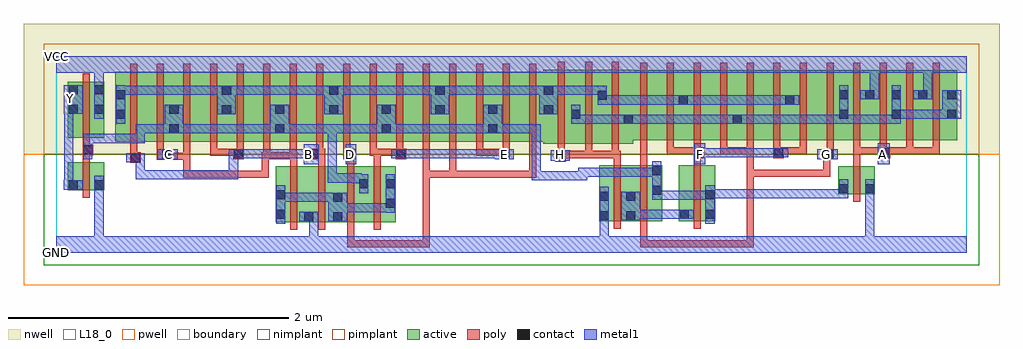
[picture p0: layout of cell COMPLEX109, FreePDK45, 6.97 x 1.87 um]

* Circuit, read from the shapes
.subckt COMPLEX109 A B C D E F G GND H VCC Y
M1 GND n1 Y VSUBS nfet w=0.2u l=0.05u
M2 GND C n2 VSUBS nfet w=0.4u l=0.05u
M3 n2 B GND VSUBS nfet w=0.4u l=0.05u
M4 n1 D n2 VSUBS nfet w=0.4u l=0.05u
M5 n2 E n1 VSUBS nfet w=0.4u l=0.05u
M6 n3 H GND VSUBS nfet w=0.4u l=0.05u
M7 n1 G n3 VSUBS nfet w=0.4u l=0.05u
M8 n1 F n3 VSUBS nfet w=0.4u l=0.05u
M9 GND A n1 VSUBS nfet w=0.2u l=0.05u
M10 VCC n1 Y n4 pfet w=0.4u l=0.05u
M11 n5 B n6 n4 pfet w=0.5u l=0.05u
M12 n1 C n5 n4 pfet w=0.5u l=0.05u
M13 n7 C n1 n4 pfet w=0.5u l=0.05u
M14 n6 B n7 n4 pfet w=0.5u l=0.05u
M15 n8 B n6 n4 pfet w=0.5u l=0.05u
M16 n1 C n8 n4 pfet w=0.5u l=0.05u
M17 n9 C n1 n4 pfet w=0.5u l=0.05u
M18 n6 B n9 n4 pfet w=0.5u l=0.05u
M19 n10 D n6 n4 pfet w=0.5u l=0.05u
M20 n1 E n10 n4 pfet w=0.5u l=0.05u
M21 n11 E n1 n4 pfet w=0.5u l=0.05u
M22 n6 D n11 n4 pfet w=0.5u l=0.05u
M23 n12 D n6 n4 pfet w=0.5u l=0.05u
M24 n1 E n12 n4 pfet w=0.5u l=0.05u
M25 n13 E n1 n4 pfet w=0.5u l=0.05u
M26 n6 D n13 n4 pfet w=0.5u l=0.05u
M27 n14 H n6 n4 pfet w=0.532u l=0.05u m=3
M28 n15 G n14 n4 pfet w=0.5u l=0.05u
M29 n6 F n15 n4 pfet w=0.5u l=0.05u
M30 n16 F n6 n4 pfet w=0.5u l=0.05u
M31 n14 G n16 n4 pfet w=0.5u l=0.05u
M32 n17 G n14 n4 pfet w=0.5u l=0.05u
M33 n6 F n17 n4 pfet w=0.5u l=0.05u
M34 n18 F n6 n4 pfet w=0.5u l=0.05u
M35 n14 G n18 n4 pfet w=0.5u l=0.05u
M36 VCC A n14 n4 pfet w=0.5u l=0.05u m=4
.ends

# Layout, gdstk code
import gdstk
lib = gdstk.Library(unit=1e-6, precision=1e-09)
def R(c, l, rs):  # rectangles x0, y0, x1, y1
    for r in rs: c.add(gdstk.rectangle(r[:2], r[2:], *l))
def A(c, l, x, y, w, h, nx, ny, dx, dy):  # array of equal rectangles
    R(c, l, [(x+i*dx, y+j*dy, x+i*dx+w, y+j*dy+h) for i in range(nx) for j in range(ny)])
active = (1, 0)
pwell = (2, 0)
nwell = (3, 0)
nimplant = (4, 0)
pimplant = (5, 0)
poly = (9, 0)
contact = (10, 0)
metal1 = (11, 0)
L18_0 = (18, 0)
boundary = (235, 0)

complex109 = lib.new_cell('COMPLEX109')
R(complex109, active, [(1.565,0.217,1.84,0.617), (1.765,0.217,1.84,0.492), (1.765,0.217,2.047,0.617), (1.972,0.217,2.232,0.617), (1.972,0.217,2.047,0.492), (2.157,0.217,2.422,0.617), (2.347,0.217,2.422,0.617), (3.875,0.225,3.95,0.625), (3.875,0.225,4.14,0.625), (4.065,0.225,4.325,0.625), (4.065,0.225,4.14,0.492), (4.445,0.225,4.52,0.625), (4.445,0.225,4.705,0.625), (4.63,0.225,4.705,0.625), (1.565,0.232,1.64,0.617), (2.157,0.245,2.232,0.537), (4.25,0.245,4.325,0.625), (5.585,0.417,5.66,0.617), (5.585,0.417,5.845,0.617), (5.77,0.417,5.845,0.617), (0.082,0.445,0.157,0.645), (0.082,0.445,0.342,0.645), (0.267,0.445,0.342,0.645), (3.477,0.775,3.745,1.307), (3.67,0.775,3.935,1.307), (3.67,0.775,3.745,1.07), (3.86,0.775,4.12,1.307), (3.86,0.775,3.935,1.2), (0.422,0.792,0.647,1.292), (0.422,0.792,0.527,1.2), (0.647,0.792,0.877,1.292), (0.802,0.792,1.027,1.292), (0.802,0.792,0.877,1.07), (1.027,0.792,1.252,1.292), (1.177,0.792,1.407,1.292), (1.177,0.792,1.252,1.2), (1.407,0.792,1.632,1.292), (1.557,0.792,1.787,1.292), (1.557,0.792,1.632,1.07), (1.787,0.792,2.017,1.292), (1.942,0.792,2.167,1.292), (2.167,0.792,2.392,1.292), (2.317,0.792,2.547,1.292), (2.317,0.792,2.392,1.07), (2.547,0.792,2.777,1.292), (2.702,0.792,2.927,1.292), (2.702,0.792,2.777,1.2), (2.927,0.792,3.155,1.292), (3.08,0.792,3.307,1.292), (3.08,0.792,3.155,1.07), (3.307,0.792,3.552,1.292), (3.477,0.792,3.552,1.2), (4.045,0.8,4.29,1.3), (4.29,0.8,4.515,1.3), (4.44,0.8,4.67,1.3), (4.67,0.8,4.9,1.3), (4.825,0.8,5.05,1.3), (5.05,0.8,5.275,1.3), (5.2,0.8,5.43,1.3), (5.43,0.8,5.66,1.3), (5.585,0.8,5.845,1.3), (5.77,0.8,6.035,1.3), (5.96,0.8,6.225,1.3), (6.15,0.8,6.432,1.3), (6.357,0.8,6.432,1.2), (1.942,0.807,2.017,1.2), (4.045,0.807,4.12,1.07), (4.44,0.807,4.515,1.2), (4.825,0.807,4.9,1.07), (5.2,0.807,5.275,1.2), (5.585,0.807,5.66,1.2), (5.77,0.807,5.845,1.255), (5.96,0.807,6.035,1.2), (6.15,0.807,6.225,1.255), (0.082,0.82,0.342,1.22), (0.082,0.82,0.157,1.2), (0.267,0.82,0.342,1.22)])
R(complex109, pwell, [(-0.235,-0.235,6.735,0.7)])
R(complex109, nwell, [(-0.235,0.7,6.735,1.635)])
R(complex109, nimplant, [(-0.09,-0.09,6.59,0.7)])
R(complex109, pimplant, [(-0.09,0.7,6.59,1.49)])
A(complex109, poly, 1.857, 0.692, 0.05, 0.095, 4, 1, 0.19, 0)
A(complex109, poly, 4.36, 0.7, 0.05, 0.095, 6, 1, 0.19, 0)
A(complex109, poly, 5.69, 0.7, 0.05, 0.095, 4, 1, 0.19, 0)
A(complex109, poly, 0.527, 0.737, 0.05, 0.61, 16, 1, 0.19, 0)
A(complex109, poly, 4.17, 0.745, 0.05, 0.61, 12, 1, 0.19, 0)
R(complex109, poly, [(2.077,0.037,2.127,0.087), (2.077,0.037,2.127,0.087), (2.077,0.037,2.127,0.087), (2.077,0.037,2.127,0.212), (2.077,0.037,2.34,0.087), (2.29,0.037,2.34,0.087), (2.29,0.037,2.535,0.087), (2.485,0.037,2.535,0.087), (2.485,0.037,2.535,0.087), (2.485,0.037,2.535,0.087), (2.485,0.037,2.667,0.087), (2.617,0.037,2.667,0.087), (2.617,0.037,2.667,0.087), (2.617,0.037,2.667,0.087), (2.617,0.037,2.667,0.087), (2.617,0.037,2.667,0.087), (2.617,0.037,2.667,0.585), (4.17,0.037,4.22,0.087), (4.17,0.037,4.22,0.087), (4.17,0.037,4.22,0.087), (4.17,0.037,4.467,0.087), (4.17,0.037,4.22,0.22), (4.417,0.037,4.467,0.087), (4.417,0.037,4.467,0.087), (4.417,0.037,4.467,0.087), (4.417,0.037,4.6,0.087), (4.55,0.037,4.6,0.087), (4.55,0.037,4.6,0.087), (4.55,0.037,4.6,0.087), (4.55,0.037,4.732,0.087), (4.682,0.037,4.732,0.087), (4.682,0.037,4.98,0.087), (4.93,0.037,4.98,0.087), (4.93,0.037,4.98,0.087), (4.93,0.037,4.98,0.087), (4.93,0.037,4.98,0.592), (1.67,0.162,1.72,0.672), (1.87,0.162,1.92,0.672), (2.077,0.162,2.127,0.672), (2.267,0.162,2.317,0.672), (3.98,0.17,4.03,0.68), (4.17,0.17,4.22,0.68), (4.55,0.17,4.6,0.68), (5.69,0.362,5.74,0.672), (0.187,0.39,0.237,0.7), (0.907,0.535,0.957,0.585), (0.907,0.535,0.957,0.585), (0.907,0.535,0.957,0.585), (0.907,0.535,1.09,0.585), (0.907,0.535,0.957,0.712), (1.04,0.535,1.09,0.585), (1.04,0.535,1.09,0.585), (1.04,0.535,1.09,0.585), (1.04,0.535,1.382,0.585), (1.332,0.535,1.382,0.585), (1.332,0.535,1.515,0.585), (1.465,0.535,1.515,0.585), (1.465,0.535,1.515,0.585), (1.465,0.535,1.515,0.585), (1.465,0.535,1.515,0.585), (1.465,0.535,1.515,0.585), (1.465,0.535,1.515,0.717), (2.617,0.535,2.667,0.585), (2.617,0.535,2.667,0.585), (2.617,0.535,2.667,0.585), (2.617,0.535,2.667,0.585), (2.617,0.535,2.667,0.585), (2.617,0.535,2.667,0.585), (2.617,0.535,2.667,0.585), (2.617,0.535,2.8,0.585), (2.617,0.535,2.667,0.787), (2.75,0.535,2.8,0.585), (2.75,0.535,2.857,0.585), (2.807,0.535,2.857,0.585), (2.807,0.535,2.857,0.585), (2.807,0.535,2.857,0.585), (2.807,0.535,2.857,0.585), (2.807,0.535,2.857,0.585), (2.807,0.535,2.857,0.787), (2.807,0.535,2.932,0.585), (2.882,0.535,2.932,0.585), (2.882,0.535,2.99,0.585), (2.94,0.535,2.99,0.585), (2.94,0.535,3.162,0.585), (3.112,0.535,3.162,0.585), (3.112,0.535,3.295,0.585), (3.245,0.535,3.295,0.585), (3.245,0.535,3.295,0.585), (3.245,0.535,3.295,0.585), (3.245,0.535,3.427,0.585), (3.377,0.535,3.427,0.585), (3.377,0.535,3.427,0.585), (3.377,0.535,3.427,0.585), (3.377,0.535,3.427,0.585), (3.377,0.535,3.427,0.585), (3.377,0.535,3.427,0.787), (4.93,0.542,4.98,0.592), (4.93,0.542,4.98,0.592), (4.93,0.542,4.98,0.592), (4.93,0.542,4.98,0.592), (4.93,0.542,4.98,0.592), (4.93,0.542,5.227,0.592), (4.93,0.542,4.98,0.75), (5.177,0.542,5.227,0.592), (5.177,0.542,5.227,0.592), (5.177,0.542,5.227,0.592), (5.177,0.542,5.36,0.592), (5.31,0.542,5.36,0.592), (5.31,0.542,5.36,0.592), (5.31,0.542,5.36,0.592), (5.31,0.542,5.525,0.592), (5.475,0.542,5.525,0.592), (5.475,0.542,5.525,0.592), (5.475,0.542,5.525,0.592), (5.475,0.542,5.525,0.592), (5.475,0.542,5.525,0.592), (5.475,0.542,5.525,0.717), (1.67,0.622,1.72,0.717), (1.87,0.622,1.92,0.717), (2.077,0.622,2.127,0.717), (2.267,0.622,2.317,0.742), (5.69,0.622,5.74,0.75), (3.98,0.63,4.03,0.725), (4.17,0.63,4.22,0.725), (4.55,0.63,4.6,0.725), (0.527,0.64,0.602,0.715), (0.187,0.65,0.237,0.745), (3.562,0.65,3.637,0.725), (0.717,0.662,0.825,0.737), (0.775,0.662,0.825,0.712), (0.775,0.662,0.825,0.712), (0.775,0.662,0.957,0.712), (0.907,0.662,0.957,0.712), (0.907,0.662,0.957,0.712), (0.907,0.662,0.957,0.712), (0.907,0.662,0.957,0.787), (0.527,0.665,0.577,0.787), (1.262,0.667,1.337,0.742), (1.465,0.667,1.527,0.717), (1.477,0.667,1.717,0.717), (1.477,0.667,1.527,0.787), (1.667,0.667,1.717,0.717), (1.667,0.667,1.717,0.717), (1.667,0.667,1.717,0.787), (1.667,0.667,1.72,0.717), (1.802,0.667,1.92,0.742), (2.047,0.667,2.137,0.742), (2.422,0.667,2.497,0.742), (3.162,0.667,3.237,0.742), (5.475,0.667,5.55,0.742), (3.582,0.675,3.632,0.77), (3.587,0.675,3.637,0.725), (3.587,0.675,3.637,0.725), (3.587,0.675,3.825,0.725), (3.775,0.675,3.825,0.77), (3.775,0.675,3.825,0.725), (3.775,0.675,3.825,0.725), (3.775,0.675,3.825,0.725), (3.775,0.675,4.015,0.725), (3.965,0.675,4.015,0.77), (3.965,0.675,4.03,0.725), (4.17,0.675,4.22,0.725), (4.17,0.675,4.22,0.795), (4.55,0.675,4.625,0.75), (5.12,0.675,5.195,0.75), (5.88,0.675,5.955,0.75), (0.717,0.687,0.767,0.787), (1.097,0.692,1.147,0.787), (1.097,0.692,1.147,0.742), (1.097,0.692,1.147,0.742), (1.097,0.692,1.147,0.742), (1.097,0.692,1.312,0.742), (1.287,0.692,1.337,0.787), (2.237,0.692,2.317,0.742), (2.267,0.692,2.317,0.742), (2.267,0.692,2.317,0.742), (2.267,0.692,2.472,0.742), (2.997,0.692,3.047,0.787), (2.997,0.692,3.047,0.742), (2.997,0.692,3.162,0.742), (3.112,0.692,3.162,0.742), (3.112,0.692,3.212,0.742), (3.187,0.692,3.237,0.787), (5.5,0.692,5.55,0.795), (0.187,0.695,0.262,0.77), (4.36,0.7,4.41,0.75), (4.36,0.7,4.41,0.75), (4.36,0.7,4.41,0.75), (4.36,0.7,4.6,0.75), (4.74,0.7,4.79,0.75), (4.74,0.7,4.98,0.75), (4.93,0.7,4.98,0.75), (4.93,0.7,4.98,0.75), (4.93,0.7,4.98,0.75), (4.93,0.7,4.98,0.75), (4.93,0.7,4.98,0.75), (5.145,0.7,5.36,0.75), (5.31,0.7,5.36,0.75), (5.31,0.7,5.36,0.75), (5.31,0.7,5.36,0.75), (5.69,0.7,5.74,0.75), (5.69,0.7,5.74,0.75), (5.69,0.7,5.74,0.75), (5.69,0.7,5.93,0.75), (5.905,0.7,5.955,0.75), (5.905,0.7,5.955,0.75), (5.905,0.7,6.12,0.75), (6.07,0.7,6.12,0.75), (6.07,0.7,6.135,0.75), (6.085,0.7,6.31,0.75), (6.085,0.7,6.135,0.75), (6.26,0.7,6.31,0.75), (0.187,0.72,0.237,0.815), (3.582,0.72,3.632,1.362), (3.775,0.72,3.825,1.362), (3.965,0.72,4.015,1.362), (0.187,0.765,0.237,1.275)])
A(complex109, contact, 5.775, 1.095, 0.065, 0.065, 3, 1, 0.19, 0)
R(complex109, contact, [(1.977,0.222,2.042,0.287), (1.77,0.225,1.835,0.29), (3.88,0.23,3.945,0.295), (4.07,0.23,4.135,0.295), (1.57,0.24,1.635,0.305), (4.45,0.24,4.515,0.305), (4.635,0.24,4.7,0.305), (2.352,0.32,2.417,0.385), (1.977,0.362,2.042,0.427), (3.88,0.37,3.945,0.435), (4.07,0.37,4.135,0.435), (1.57,0.38,1.635,0.445), (4.635,0.38,4.7,0.445), (4.255,0.412,4.32,0.477), (5.59,0.422,5.655,0.487), (5.775,0.422,5.84,0.487), (0.087,0.45,0.152,0.515), (0.272,0.45,0.337,0.515), (2.162,0.46,2.227,0.525), (2.352,0.46,2.417,0.525), (4.255,0.552,4.32,0.617), (0.532,0.645,0.597,0.71), (3.567,0.655,3.632,0.72), (0.755,0.667,0.82,0.732), (1.267,0.672,1.332,0.737), (1.807,0.672,1.872,0.737), (2.067,0.672,2.132,0.737), (2.427,0.672,2.492,0.737), (3.167,0.672,3.232,0.737), (5.48,0.672,5.545,0.737), (4.555,0.68,4.62,0.745), (5.125,0.68,5.19,0.745), (5.885,0.68,5.95,0.745), (0.192,0.7,0.257,0.765), (0.807,0.85,0.872,0.915), (1.562,0.85,1.627,0.915), (2.322,0.85,2.387,0.915), (3.085,0.85,3.15,0.915), (4.05,0.92,4.115,0.985), (4.83,0.92,4.895,0.985), (0.427,0.955,0.492,1.02), (3.675,0.955,3.74,1.02), (5.59,0.955,5.655,1.02), (5.965,0.955,6.03,1.02), (6.362,0.955,6.427,1.02), (1.182,0.987,1.247,1.052), (1.947,0.987,2.012,1.052), (2.707,0.987,2.772,1.052), (3.482,0.987,3.547,1.052), (0.087,0.99,0.152,1.055), (0.272,0.99,0.337,1.055), (0.807,0.99,0.872,1.055), (1.562,0.99,1.627,1.055), (2.322,0.99,2.387,1.055), (3.085,0.99,3.15,1.055), (4.445,1.057,4.51,1.122), (5.205,1.057,5.27,1.122), (3.865,1.092,3.93,1.157), (0.427,1.095,0.492,1.16), (5.59,1.095,5.655,1.16), (6.362,1.095,6.427,1.16), (1.182,1.127,1.247,1.192), (1.947,1.127,2.012,1.192), (2.707,1.127,2.772,1.192), (3.482,1.127,3.547,1.192), (0.087,1.13,0.152,1.195), (0.272,1.13,0.337,1.195)])
R(complex109, metal1, [(0,0,6.5,0.115), (0.272,0.05,0.337,0.115), (0.272,0.05,0.337,0.115), (0.272,0.05,0.337,0.115), (0.272,0.05,0.337,0.115), (0.272,0.05,0.337,0.115), (0.272,0.05,0.337,0.115), (0.272,0.05,0.337,0.48), (1.805,0.05,1.87,0.115), (1.805,0.05,1.87,0.115), (1.805,0.05,1.87,0.29), (3.88,0.05,3.945,0.115), (3.88,0.05,3.945,0.115), (3.88,0.05,3.945,0.26), (5.775,0.05,5.84,0.115), (5.775,0.05,5.84,0.115), (5.775,0.05,5.84,0.115), (5.775,0.05,5.84,0.115), (5.775,0.05,5.84,0.115), (5.775,0.05,5.84,0.115), (5.775,0.05,5.84,0.452), (3.88,0.195,3.945,0.47), (1.57,0.205,1.635,0.48), (4.635,0.205,4.7,0.48), (1.942,0.222,2.077,0.427), (1.735,0.225,1.87,0.29), (4.035,0.23,4.17,0.435), (4.105,0.24,4.17,0.305), (4.105,0.24,4.17,0.305), (4.105,0.24,4.32,0.305), (4.255,0.24,4.32,0.305), (4.255,0.24,4.32,0.305), (4.255,0.24,4.32,0.305), (4.255,0.24,4.48,0.305), (4.415,0.24,4.55,0.305), (2.352,0.285,2.417,0.56), (2.012,0.287,2.077,0.352), (2.012,0.287,2.077,0.352), (2.012,0.287,2.215,0.352), (2.15,0.287,2.215,0.352), (2.15,0.287,2.32,0.352), (2.255,0.287,2.32,0.352), (2.255,0.287,2.417,0.352), (1.57,0.362,1.642,0.427), (1.577,0.362,1.642,0.427), (1.577,0.362,1.84,0.427), (1.775,0.362,1.84,0.427), (1.775,0.362,1.84,0.427), (1.775,0.362,1.84,0.427), (1.775,0.362,2.007,0.427), (4.255,0.377,4.32,0.442), (4.255,0.377,4.32,0.442), (4.255,0.377,4.32,0.442), (4.255,0.377,4.32,0.442), (4.255,0.377,4.457,0.442), (4.255,0.377,4.32,0.652), (4.392,0.377,4.457,0.442), (4.392,0.377,4.457,0.442), (4.392,0.377,4.457,0.442), (4.392,0.377,4.7,0.442), (4.635,0.387,4.837,0.452), (4.772,0.387,4.837,0.452), (4.772,0.387,4.837,0.452), (4.772,0.387,4.837,0.452), (4.772,0.387,5.017,0.452), (4.952,0.387,5.017,0.452), (4.952,0.387,5.067,0.452), (5.002,0.387,5.067,0.452), (5.002,0.387,5.222,0.452), (5.157,0.387,5.222,0.452), (5.157,0.387,5.222,0.452), (5.157,0.387,5.222,0.452), (5.157,0.387,5.36,0.452), (5.295,0.387,5.36,0.452), (5.295,0.387,5.36,0.452), (5.295,0.387,5.36,0.452), (5.295,0.387,5.655,0.452), (5.59,0.387,5.655,0.452), (5.59,0.387,5.655,0.452), (5.59,0.387,5.655,0.522), (5.775,0.387,5.84,0.522), (0.272,0.415,0.337,0.55), (2.162,0.425,2.227,0.56), (0.052,0.45,0.187,0.515), (0.055,0.45,0.12,0.515), (0.055,0.45,0.12,0.515), (0.055,0.45,0.12,1.055), (2.117,0.495,2.227,0.56), (2.117,0.495,2.182,0.565), (1.937,0.5,2.002,0.565), (1.937,0.5,2.002,0.565), (1.937,0.5,2.002,0.565), (1.937,0.5,2.182,0.565), (1.937,0.5,2.002,0.915), (3.395,0.517,3.46,0.582), (3.395,0.517,3.46,0.582), (3.395,0.517,3.46,0.582), (3.395,0.517,3.46,0.582), (3.395,0.517,3.46,0.582), (3.395,0.517,3.792,0.582), (3.395,0.517,3.46,0.915), (3.727,0.517,3.792,0.582), (3.727,0.517,3.792,0.582), (3.727,0.517,3.792,0.607), (0.567,0.522,0.632,0.587), (0.567,0.522,0.8,0.587), (0.567,0.522,0.632,0.71), (0.735,0.522,0.8,0.587), (0.735,0.522,0.937,0.587), (0.872,0.522,0.937,0.587), (0.872,0.522,0.937,0.587), (0.872,0.522,0.937,0.587), (0.872,0.522,1.075,0.587), (1.01,0.522,1.075,0.587), (1.01,0.522,1.075,0.587), (1.01,0.522,1.075,0.587), (1.01,0.522,1.297,0.587), (1.232,0.522,1.297,0.587), (1.232,0.522,1.297,0.737), (3.727,0.542,3.93,0.607), (3.865,0.542,3.93,0.607), (3.865,0.542,3.93,0.607), (3.865,0.542,3.93,0.607), (3.865,0.542,4.17,0.607), (4.105,0.542,4.17,0.607), (4.105,0.542,4.17,0.607), (4.105,0.542,4.17,0.607), (4.105,0.542,4.32,0.607), (1.767,0.632,1.872,0.772), (2.067,0.632,2.142,0.772), (4.555,0.632,4.632,0.78), (5.867,0.632,5.95,0.78), (0.497,0.645,0.632,0.71), (0.567,0.645,0.632,0.71), (0.567,0.645,0.632,0.71), (3.532,0.655,3.667,0.732), (0.192,0.665,0.257,0.8), (0.72,0.667,0.867,0.737), (3.132,0.667,3.267,0.737), (5.432,0.667,5.58,0.737), (1.232,0.672,1.297,0.737), (1.232,0.672,1.297,0.737), (1.232,0.672,1.367,0.737), (1.302,0.672,1.455,0.737), (1.39,0.672,1.455,0.737), (1.39,0.672,1.505,0.737), (1.44,0.672,1.505,0.737), (1.44,0.672,1.642,0.737), (1.577,0.672,1.642,0.737), (1.577,0.672,1.642,0.737), (1.577,0.672,1.642,0.737), (1.577,0.672,1.832,0.737), (1.767,0.672,1.832,0.737), (1.767,0.672,1.832,0.737), (2.392,0.672,2.527,0.737), (2.462,0.672,2.6,0.737), (2.535,0.672,2.6,0.737), (2.535,0.672,2.665,0.737), (2.6,0.672,2.665,0.737), (2.6,0.672,2.84,0.737), (2.775,0.672,2.84,0.737), (2.775,0.672,2.84,0.737), (2.775,0.672,2.84,0.737), (2.775,0.672,2.977,0.737), (2.912,0.672,2.977,0.737), (2.912,0.672,2.977,0.737), (2.912,0.672,2.977,0.737), (2.912,0.672,3.115,0.737), (3.05,0.672,3.115,0.737), (3.05,0.672,3.197,0.737), (4.567,0.68,4.7,0.745), (4.635,0.68,4.7,0.745), (4.635,0.68,4.837,0.745), (4.772,0.68,4.837,0.745), (4.772,0.68,4.837,0.745), (4.772,0.68,4.837,0.745), (4.772,0.68,5.017,0.745), (4.952,0.68,5.017,0.745), (4.952,0.68,5.067,0.745), (5.002,0.68,5.067,0.745), (5.002,0.68,5.155,0.745), (5.09,0.68,5.225,0.745), (0.192,0.735,0.257,0.8), (0.192,0.735,0.257,0.8), (0.192,0.735,0.257,0.847), (0.192,0.782,0.257,0.847), (0.192,0.782,0.492,0.847), (0.427,0.782,0.492,0.847), (0.427,0.782,0.492,0.847), (0.427,0.782,0.492,0.847), (0.427,0.782,0.63,0.847), (0.565,0.782,0.63,0.915), (0.565,0.85,0.785,0.915), (0.72,0.85,0.785,0.915), (0.72,0.85,0.837,0.915), (0.772,0.85,0.907,1.055), (0.842,0.85,0.937,0.915), (0.872,0.85,0.937,0.915), (0.872,0.85,1.075,0.915), (1.01,0.85,1.075,0.915), (1.01,0.85,1.075,0.915), (1.01,0.85,1.075,0.915), (1.01,0.85,1.212,0.915), (1.147,0.85,1.212,0.915), (1.147,0.85,1.212,0.915), (1.147,0.85,1.212,0.915), (1.147,0.85,1.455,0.915), (1.39,0.85,1.455,0.915), (1.39,0.85,1.505,0.915), (1.44,0.85,1.505,0.915), (1.44,0.85,1.592,0.915), (1.527,0.85,1.662,1.055), (1.597,0.85,1.662,0.915), (1.597,0.85,1.662,0.915), (1.597,0.85,1.84,0.915), (1.775,0.85,1.84,0.915), (1.775,0.85,1.84,0.915), (1.775,0.85,1.84,0.915), (1.775,0.85,2.002,0.915), (1.937,0.85,2.002,0.915), (1.937,0.85,2.182,0.915), (2.117,0.85,2.182,0.915), (2.117,0.85,2.215,0.915), (2.15,0.85,2.215,0.915), (2.15,0.85,2.32,0.915), (2.255,0.85,2.32,0.915), (2.255,0.85,2.352,0.915), (2.287,0.85,2.422,1.055), (2.357,0.85,2.457,0.915), (2.392,0.85,2.457,0.915), (2.392,0.85,2.6,0.915), (2.535,0.85,2.6,0.915), (2.535,0.85,2.665,0.915), (2.6,0.85,2.665,0.915), (2.6,0.85,2.84,0.915), (2.775,0.85,2.84,0.915), (2.775,0.85,2.84,0.915), (2.775,0.85,2.84,0.915), (2.775,0.85,2.977,0.915), (2.912,0.85,2.977,0.915), (2.912,0.85,2.977,0.915), (2.912,0.85,2.977,0.915), (2.912,0.85,3.115,0.915), (3.05,0.85,3.185,1.055), (3.12,0.85,3.185,0.915), (3.12,0.85,3.185,0.915), (3.12,0.85,3.322,0.915), (3.257,0.85,3.322,0.915), (3.257,0.85,3.322,0.915), (3.257,0.85,3.322,0.915), (3.257,0.85,3.46,0.915), (3.395,0.85,3.46,0.915), (0.427,0.92,0.492,1.195), (3.675,0.92,3.74,0.985), (3.675,0.92,3.74,0.985), (3.675,0.92,3.74,1.055), (3.675,0.92,3.942,0.985), (3.877,0.92,3.942,0.985), (3.877,0.92,3.942,0.985), (3.877,0.92,3.942,0.985), (3.877,0.92,4.08,0.985), (4.015,0.92,4.15,0.985), (4.085,0.92,4.15,0.985), (4.085,0.92,4.15,0.985), (4.085,0.92,4.307,0.985), (4.242,0.92,4.307,0.985), (4.242,0.92,4.307,0.985), (4.242,0.92,4.307,0.985), (4.242,0.92,4.457,0.985), (4.392,0.92,4.457,0.985), (4.392,0.92,4.457,0.985), (4.392,0.92,4.457,0.985), (4.392,0.92,4.682,0.985), (4.617,0.92,4.682,0.985), (4.617,0.92,4.86,0.985), (4.795,0.92,4.86,0.985), (4.795,0.92,4.86,0.985), (4.795,0.92,4.93,0.985), (4.865,0.92,5.017,0.985), (4.952,0.92,5.017,0.985), (4.952,0.92,5.067,0.985), (5.002,0.92,5.067,0.985), (5.002,0.92,5.205,0.985), (5.14,0.92,5.205,0.985), (5.14,0.92,5.205,0.985), (5.14,0.92,5.205,0.985), (5.14,0.92,5.36,0.985), (5.295,0.92,5.36,0.985), (5.295,0.92,5.36,0.985), (5.295,0.92,5.36,0.985), (5.295,0.92,5.655,0.985), (5.59,0.92,5.655,0.985), (5.59,0.92,5.655,0.985), (5.59,0.92,5.655,1.195), (5.59,0.92,5.795,0.985), (5.73,0.92,5.795,0.985), (5.73,0.92,5.795,0.985), (5.73,0.92,5.795,0.985), (5.73,0.92,6.03,0.985), (5.965,0.92,6.03,0.985), (5.965,0.92,6.03,0.985), (5.965,0.92,6.03,1.195), (0.272,0.955,0.337,1.23), (5.965,0.955,6.255,1.02), (6.19,0.955,6.255,1.02), (6.19,0.955,6.255,1.02), (6.19,0.955,6.255,1.02), (6.19,0.955,6.392,1.02), (6.327,0.955,6.392,1.02), (6.327,0.955,6.392,1.02), (6.327,0.955,6.462,1.16), (1.147,0.987,1.282,1.192), (1.912,0.987,2.047,1.192), (2.672,0.987,2.807,1.192), (3.447,0.987,3.582,1.192), (0.052,0.99,0.187,1.195), (0.055,0.99,0.12,1.055), (0.055,0.99,0.12,1.055), (3.865,1.057,3.93,1.122), (3.865,1.057,3.93,1.122), (3.865,1.057,3.93,1.192), (3.865,1.057,4.17,1.122), (4.105,1.057,4.17,1.122), (4.105,1.057,4.17,1.122), (4.105,1.057,4.17,1.122), (4.105,1.057,4.32,1.122), (4.255,1.057,4.32,1.122), (4.255,1.057,4.32,1.122), (4.255,1.057,4.32,1.122), (4.255,1.057,4.475,1.122), (4.41,1.057,4.545,1.122), (4.48,1.057,4.545,1.122), (4.48,1.057,4.545,1.122), (4.48,1.057,4.7,1.122), (4.635,1.057,4.7,1.122), (4.635,1.057,4.77,1.122), (4.705,1.057,4.77,1.122), (4.705,1.057,4.93,1.122), (4.865,1.057,4.93,1.122), (4.865,1.057,5.017,1.122), (4.952,1.057,5.017,1.122), (4.952,1.057,5.067,1.122), (5.002,1.057,5.067,1.122), (5.002,1.057,5.155,1.122), (5.09,1.057,5.155,1.122), (5.09,1.057,5.235,1.122), (5.17,1.057,5.305,1.122), (5.74,1.095,5.875,1.16), (5.81,1.095,5.875,1.35), (6.12,1.095,6.255,1.16), (6.19,1.095,6.255,1.35), (0.427,1.127,0.492,1.192), (0.427,1.127,0.492,1.192), (0.427,1.127,0.632,1.192), (0.567,1.127,0.632,1.192), (0.567,1.127,0.8,1.192), (0.735,1.127,0.8,1.192), (0.735,1.127,0.937,1.192), (0.872,1.127,0.937,1.192), (0.872,1.127,0.937,1.192), (0.872,1.127,0.937,1.192), (0.872,1.127,1.075,1.192), (1.01,1.127,1.075,1.192), (1.01,1.127,1.075,1.192), (1.01,1.127,1.075,1.192), (1.01,1.127,1.212,1.192), (1.217,1.127,1.282,1.192), (1.217,1.127,1.282,1.192), (1.217,1.127,1.455,1.192), (1.39,1.127,1.455,1.192), (1.39,1.127,1.505,1.192), (1.44,1.127,1.505,1.192), (1.44,1.127,1.662,1.192), (1.597,1.127,1.662,1.192), (1.597,1.127,1.662,1.192), (1.597,1.127,1.662,1.192), (1.597,1.127,1.84,1.192), (1.775,1.127,1.84,1.192), (1.775,1.127,1.84,1.192), (1.775,1.127,1.84,1.192), (1.775,1.127,1.977,1.192), (1.982,1.127,2.047,1.192), (1.982,1.127,2.047,1.192), (1.982,1.127,2.215,1.192), (2.15,1.127,2.215,1.192), (2.15,1.127,2.32,1.192), (2.255,1.127,2.32,1.192), (2.255,1.127,2.352,1.192), (2.287,1.127,2.352,1.192), (2.287,1.127,2.527,1.192), (2.462,1.127,2.527,1.192), (2.462,1.127,2.6,1.192), (2.535,1.127,2.6,1.192), (2.535,1.127,2.665,1.192), (2.6,1.127,2.665,1.192), (2.6,1.127,2.737,1.192), (2.742,1.127,2.807,1.192), (2.742,1.127,2.807,1.192), (2.742,1.127,2.977,1.192), (2.912,1.127,2.977,1.192), (2.912,1.127,2.977,1.192), (2.912,1.127,2.977,1.192), (2.912,1.127,3.185,1.192), (3.12,1.127,3.185,1.192), (3.12,1.127,3.185,1.192), (3.12,1.127,3.185,1.192), (3.12,1.127,3.322,1.192), (3.257,1.127,3.322,1.192), (3.257,1.127,3.322,1.192), (3.257,1.127,3.322,1.192), (3.257,1.127,3.512,1.192), (3.517,1.127,3.582,1.192), (3.517,1.127,3.582,1.192), (3.517,1.127,3.792,1.192), (3.727,1.127,3.792,1.192), (3.727,1.127,3.792,1.192), (3.727,1.127,3.792,1.192), (3.727,1.127,3.93,1.192), (0.272,1.165,0.337,1.35), (0,1.285,6.5,1.4)])
R(complex109, L18_0, [(0,0,6.5,0.115), (0.272,0.05,0.337,0.115), (0.272,0.05,0.337,0.115), (0.272,0.05,0.337,0.115), (0.272,0.05,0.337,0.115), (0.272,0.05,0.337,0.115), (0.272,0.05,0.337,0.115), (0.272,0.05,0.337,0.48), (1.805,0.05,1.87,0.115), (1.805,0.05,1.87,0.115), (1.805,0.05,1.87,0.29), (3.88,0.05,3.945,0.115), (3.88,0.05,3.945,0.115), (3.88,0.05,3.945,0.26), (5.775,0.05,5.84,0.115), (5.775,0.05,5.84,0.115), (5.775,0.05,5.84,0.115), (5.775,0.05,5.84,0.115), (5.775,0.05,5.84,0.115), (5.775,0.05,5.84,0.115), (5.775,0.05,5.84,0.452), (3.88,0.195,3.945,0.47), (1.735,0.225,1.87,0.29), (5.775,0.387,5.84,0.522), (0.272,0.415,0.337,0.55), (0.052,0.45,0.187,0.515), (0.055,0.45,0.12,0.515), (0.055,0.45,0.12,0.515), (0.055,0.45,0.12,1.055), (0.567,0.522,0.632,0.587), (0.567,0.522,0.632,0.71), (0.567,0.522,0.8,0.587), (0.735,0.522,0.8,0.587), (0.735,0.522,0.937,0.587), (0.872,0.522,0.937,0.587), (0.872,0.522,0.937,0.587), (0.872,0.522,0.937,0.587), (0.872,0.522,1.075,0.587), (1.01,0.522,1.075,0.587), (1.01,0.522,1.075,0.587), (1.01,0.522,1.075,0.587), (1.01,0.522,1.297,0.587), (1.232,0.522,1.297,0.587), (1.232,0.522,1.297,0.737), (1.767,0.632,1.872,0.772), (2.067,0.632,2.142,0.772), (4.555,0.632,4.632,0.78), (5.867,0.632,5.95,0.78), (0.497,0.645,0.632,0.71), (0.567,0.645,0.632,0.71), (0.567,0.645,0.632,0.71), (3.532,0.655,3.667,0.732), (0.72,0.667,0.867,0.737), (0.767,0.667,0.832,0.732), (1.767,0.667,1.832,0.732), (2.067,0.667,2.132,0.732), (3.132,0.667,3.267,0.737), (3.167,0.667,3.232,0.732), (3.567,0.667,3.632,0.732), (4.567,0.667,4.632,0.732), (5.432,0.667,5.58,0.737), (5.467,0.667,5.532,0.732), (5.867,0.667,5.932,0.732), (1.232,0.672,1.367,0.737), (1.232,0.672,1.297,0.737), (1.232,0.672,1.297,0.737), (1.302,0.672,1.455,0.737), (1.39,0.672,1.455,0.737), (1.39,0.672,1.505,0.737), (1.44,0.672,1.505,0.737), (1.44,0.672,1.642,0.737), (1.577,0.672,1.642,0.737), (1.577,0.672,1.642,0.737), (1.577,0.672,1.642,0.737), (1.577,0.672,1.832,0.737), (1.767,0.672,1.832,0.737), (1.767,0.672,1.832,0.737), (2.392,0.672,2.527,0.737), (2.462,0.672,2.6,0.737), (2.535,0.672,2.6,0.737), (2.535,0.672,2.665,0.737), (2.6,0.672,2.665,0.737), (2.6,0.672,2.84,0.737), (2.775,0.672,2.84,0.737), (2.775,0.672,2.84,0.737), (2.775,0.672,2.84,0.737), (2.775,0.672,2.977,0.737), (2.912,0.672,2.977,0.737), (2.912,0.672,2.977,0.737), (2.912,0.672,2.977,0.737), (2.912,0.672,3.115,0.737), (3.05,0.672,3.115,0.737), (3.05,0.672,3.197,0.737), (4.567,0.68,4.7,0.745), (4.635,0.68,4.7,0.745), (4.635,0.68,4.837,0.745), (4.772,0.68,4.837,0.745), (4.772,0.68,4.837,0.745), (4.772,0.68,4.837,0.745), (4.772,0.68,5.017,0.745), (4.952,0.68,5.017,0.745), (4.952,0.68,5.067,0.745), (5.002,0.68,5.067,0.745), (5.002,0.68,5.155,0.745), (5.09,0.68,5.225,0.745), (0.272,0.955,0.337,1.23), (0.052,0.99,0.187,1.195), (0.055,0.99,0.12,1.055), (0.055,0.99,0.12,1.055), (0.067,1.067,0.132,1.132), (5.74,1.095,5.875,1.16), (5.81,1.095,5.875,1.35), (6.12,1.095,6.255,1.16), (6.19,1.095,6.255,1.35), (0.272,1.165,0.337,1.35), (0,1.285,6.5,1.4)])
R(complex109, boundary, [(0,0,6.5,1.4)])
complex109.add(gdstk.Label('A', (5.9,0.7), layer=11, texttype=0))
complex109.add(gdstk.Label('B', (1.8,0.7), layer=11, texttype=0))
complex109.add(gdstk.Label('C', (0.8,0.7), layer=11, texttype=0))
complex109.add(gdstk.Label('D', (2.1,0.7), layer=11, texttype=0))
complex109.add(gdstk.Label('E', (3.2,0.7), layer=11, texttype=0))
complex109.add(gdstk.Label('F', (4.6,0.7), layer=11, texttype=0))
complex109.add(gdstk.Label('G', (5.5,0.7), layer=11, texttype=0))
complex109.add(gdstk.Label('H', (3.6,0.7), layer=11, texttype=0))
complex109.add(gdstk.Label('Y', (0.1,1.1), layer=11, texttype=0))
complex109.add(gdstk.Label('VCC', (0,1.4), layer=11, texttype=0))
complex109.add(gdstk.Label('GND', (0,0), layer=11, texttype=0))

lib.write_gds('COMPLEX109.gds')
